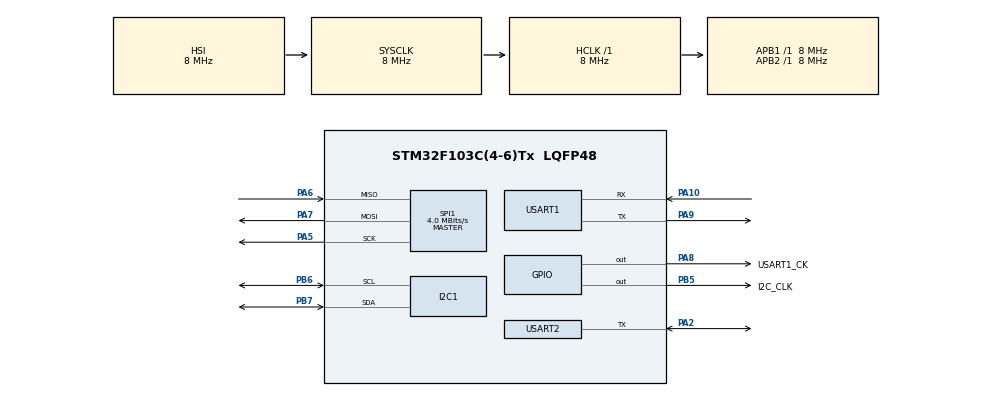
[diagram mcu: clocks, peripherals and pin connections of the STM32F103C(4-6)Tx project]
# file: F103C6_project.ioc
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Mcu.Family=STM32F1
Mcu.Name=STM32F103C(4-6)Tx
Mcu.Package=LQFP48
NVIC.PriorityGroup=NVIC_PRIORITYGROUP_4
PA10.Mode=Asynchronous
PA10.Signal=USART1_RX
PA13.Mode=Serial_Wire
PA13.Signal=SYS_JTMS-SWDIO
PA14.Mode=Serial_Wire
PA14.Signal=SYS_JTCK-SWCLK
PA2.Mode=Half_duplex(single_wire_mode)
PA2.Signal=USART2_TX
PA5.Mode=Full_Duplex_Master
PA5.Signal=SPI1_SCK
PA6.Mode=Full_Duplex_Master
PA6.Signal=SPI1_MISO
PA7.Mode=Full_Duplex_Master
PA7.Signal=SPI1_MOSI
PA8.GPIO_Label=USART1_CK
PA8.Signal=GPIO_Output
PA9.Mode=Asynchronous
PA9.Signal=USART1_TX
PB5.GPIO_Label=I2C_CLK
PB5.Signal=GPIO_Output
PB6.Mode=I2C
PB6.Signal=I2C1_SCL
PB7.Mode=I2C
PB7.Signal=I2C1_SDA
ProjectManager.HeapSize=0x200
ProjectManager.StackSize=0x400
ProjectManager.TargetToolchain=STM32CubeIDE
RCC.AHBFreq_Value=8000000
RCC.APB1Freq_Value=8000000
RCC.APB1TimFreq_Value=8000000
RCC.APB2Freq_Value=8000000
RCC.APB2TimFreq_Value=8000000
RCC.HCLKFreq_Value=8000000
RCC.SYSCLKFreq_VALUE=8000000
RCC.USBFreq_Value=8000000
SPI1.CalculateBaudRate=4.0 MBits/s
SPI1.Direction=SPI_DIRECTION_2LINES
SPI1.Mode=SPI_MODE_MASTER
SPI1.VirtualType=VM_MASTER
USART1.VirtualMode=VM_ASYNC
USART2.VirtualMode=VM_ASYNC
board=custom

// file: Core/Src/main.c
/* USER CODE BEGIN Header */
/**
  ******************************************************************************
  * @file           : main.c
  * @brief          : Main program body
  ******************************************************************************
  * @attention
  *
  * Copyright (c) 2024 STMicroelectronics.
  * All rights reserved.
  *
  * This software is licensed under terms that can be found in the LICENSE file
  * in the root directory of this software component.
  * If no LICENSE file comes with this software, it is provided AS-IS.
  *
  ******************************************************************************
  */
/* USER CODE END Header */
#include "main.h"

/* USER CODE BEGIN Includes */
#include <stdio.h>
#include <string.h>
#include "ds18b20.h"
#include "bmp280.h"
/* USER CODE END Includes */

/* USER CODE BEGIN PTD */
#define MEASURMENTS_NUM 50
#define NUM_OF_FLASH_CELLS 4096
#include <string.h>
#include <stdio.h>
/* USER CODE END PTD */

I2C_HandleTypeDef hi2c1;

SPI_HandleTypeDef hspi1;

UART_HandleTypeDef huart1;
UART_HandleTypeDef huart2;

BMP280_HandleTypedef bmp280;

/* USER CODE BEGIN PV */
DS18B20 temperatureSensor;

float pressure, temperature, humidity;

uint32_t data_to_flash;
uint8_t data_to_uart[128];
uint16_t size_to_uart;
float altitude_0 = 0;
float altitude_above_ground = 0;
float altitude_above_ground_prev = 0;
float altitude_t = 0;
float altitude_current = 0;
float altitude_to_flash = 0;
uint8_t flash_step = 4; // 4 bytes for measurment

char *status = "";
/* USER CODE END PV */

void SystemClock_Config(void);
static void MX_GPIO_Init(void);
static void MX_USART1_UART_Init(void);
static void MX_I2C1_Init(void);
static void MX_SPI1_Init(void);
static void MX_USART2_UART_Init(void);

int main(void)
{

  /* USER CODE BEGIN 1 */
	const uint8_t hello[] = "Comitas Akademya\r\n";
  /* USER CODE END 1 */

  /* MCU Configuration--------------------------------------------------------*/

  /* Reset of all peripherals, Initializes the Flash interface and the Systick. */
  HAL_Init();

  /* Configure the system clock */
  SystemClock_Config();

  /* Initialize all configured peripherals */
  MX_GPIO_Init();
  MX_USART1_UART_Init();
  MX_I2C1_Init();
  MX_SPI1_Init();
  MX_USART2_UART_Init();
  /* USER CODE BEGIN 2 */
  DS18B20_InitializationCommand(&temperatureSensor);
  DS18B20_ReadRom(&temperatureSensor);
  DS18B20_ReadScratchpad(&temperatureSensor);
  char msg[64];
  uint8_t settings[3];
    settings[0] = temperatureSensor.temperatureLimitHigh;
    settings[1] = temperatureSensor.temperatureLimitLow;
    settings[2] = DS18B20_12_BITS_CONFIG;

    DS18B20_InitializationCommand(&temperatureSensor);
    DS18B20_SkipRom(&temperatureSensor);
    DS18B20_WriteScratchpad(&temperatureSensor, settings);
  HAL_UART_Transmit(&huart1, hello, sizeof(hello) - 1, 100);

  /* USER CODE END 2 */

  /* Infinite loop */
  while (1)
  {

    /* USER CODE BEGIN 3 */
	  //HAL_UART_Transmit(&huart1, IE, sizeof(IE) - 1, 100);
	  DS18B20_InitializationCommand(&temperatureSensor);
	  DS18B20_SkipRom(&temperatureSensor);
	  DS18B20_ConvertT(&temperatureSensor, DS18B20_DATA); //ERROR
	  DS18B20_InitializationCommand(&temperatureSensor);
	  DS18B20_SkipRom(&temperatureSensor);
	  DS18B20_ReadScratchpad(&temperatureSensor);

	  snprintf(msg, sizeof(msg), "Temperature: %d\r\n", (int16_t)temperatureSensor.temperature);
	  HAL_UART_Transmit(&huart1, (uint8_t*)msg, strlen(msg), HAL_MAX_DELAY);
  }
  /* USER CODE END 3 */
}

void SystemClock_Config(void)
{
  RCC_OscInitTypeDef RCC_OscInitStruct = {0};
  RCC_ClkInitTypeDef RCC_ClkInitStruct = {0};

  /** Initializes the RCC Oscillators according to the specified parameters
  * in the RCC_OscInitTypeDef structure.
  */
  RCC_OscInitStruct.OscillatorType = RCC_OSCILLATORTYPE_HSI;
  RCC_OscInitStruct.HSIState = RCC_HSI_ON;
  RCC_OscInitStruct.HSICalibrationValue = RCC_HSICALIBRATION_DEFAULT;
  RCC_OscInitStruct.PLL.PLLState = RCC_PLL_NONE;
  if (HAL_RCC_OscConfig(&RCC_OscInitStruct) != HAL_OK)
  {
    Error_Handler();
  }

  /** Initializes the CPU, AHB and APB buses clocks
  */
  RCC_ClkInitStruct.ClockType = RCC_CLOCKTYPE_HCLK|RCC_CLOCKTYPE_SYSCLK
                              |RCC_CLOCKTYPE_PCLK1|RCC_CLOCKTYPE_PCLK2;
  RCC_ClkInitStruct.SYSCLKSource = RCC_SYSCLKSOURCE_HSI;
  RCC_ClkInitStruct.AHBCLKDivider = RCC_SYSCLK_DIV1;
  RCC_ClkInitStruct.APB1CLKDivider = RCC_HCLK_DIV1;
  RCC_ClkInitStruct.APB2CLKDivider = RCC_HCLK_DIV1;

  if (HAL_RCC_ClockConfig(&RCC_ClkInitStruct, FLASH_LATENCY_0) != HAL_OK)
  {
    Error_Handler();
  }
}

static void MX_I2C1_Init(void)
{

  hi2c1.Instance = I2C1;
  hi2c1.Init.ClockSpeed = 100000;
  hi2c1.Init.DutyCycle = I2C_DUTYCYCLE_2;
  hi2c1.Init.OwnAddress1 = 0;
  hi2c1.Init.AddressingMode = I2C_ADDRESSINGMODE_7BIT;
  hi2c1.Init.DualAddressMode = I2C_DUALADDRESS_DISABLE;
  hi2c1.Init.OwnAddress2 = 0;
  hi2c1.Init.GeneralCallMode = I2C_GENERALCALL_DISABLE;
  hi2c1.Init.NoStretchMode = I2C_NOSTRETCH_DISABLE;
  if (HAL_I2C_Init(&hi2c1) != HAL_OK)
  {
    Error_Handler();
  }

}

static void MX_SPI1_Init(void)
{

  /* SPI1 parameter configuration*/
  hspi1.Instance = SPI1;
  hspi1.Init.Mode = SPI_MODE_MASTER;
  hspi1.Init.Direction = SPI_DIRECTION_2LINES;
  hspi1.Init.DataSize = SPI_DATASIZE_8BIT;
  hspi1.Init.CLKPolarity = SPI_POLARITY_LOW;
  hspi1.Init.CLKPhase = SPI_PHASE_1EDGE;
  hspi1.Init.NSS = SPI_NSS_SOFT;
  hspi1.Init.BaudRatePrescaler = SPI_BAUDRATEPRESCALER_2;
  hspi1.Init.FirstBit = SPI_FIRSTBIT_MSB;
  hspi1.Init.TIMode = SPI_TIMODE_DISABLE;
  hspi1.Init.CRCCalculation = SPI_CRCCALCULATION_DISABLE;
  hspi1.Init.CRCPolynomial = 10;
  if (HAL_SPI_Init(&hspi1) != HAL_OK)
  {
    Error_Handler();
  }

}

static void MX_USART1_UART_Init(void)
{

  huart1.Instance = USART1;
  huart1.Init.BaudRate = 115200;
  huart1.Init.WordLength = UART_WORDLENGTH_8B;
  huart1.Init.StopBits = UART_STOPBITS_1;
  huart1.Init.Parity = UART_PARITY_NONE;
  huart1.Init.Mode = UART_MODE_TX_RX;
  huart1.Init.HwFlowCtl = UART_HWCONTROL_NONE;
  huart1.Init.OverSampling = UART_OVERSAMPLING_16;
  if (HAL_UART_Init(&huart1) != HAL_OK)
  {
    Error_Handler();
  }

}

static void MX_USART2_UART_Init(void)
{

  huart2.Instance = USART2;
  huart2.Init.BaudRate = 115200;
  huart2.Init.WordLength = UART_WORDLENGTH_8B;
  huart2.Init.StopBits = UART_STOPBITS_1;
  huart2.Init.Parity = UART_PARITY_NONE;
  huart2.Init.Mode = UART_MODE_TX_RX;
  huart2.Init.HwFlowCtl = UART_HWCONTROL_NONE;
  huart2.Init.OverSampling = UART_OVERSAMPLING_16;
  if (HAL_HalfDuplex_Init(&huart2) != HAL_OK)
  {
    Error_Handler();
  }

}

static void MX_GPIO_Init(void)
{
  GPIO_InitTypeDef GPIO_InitStruct = {0};

  /* GPIO Ports Clock Enable */
  __HAL_RCC_GPIOA_CLK_ENABLE();
  __HAL_RCC_GPIOB_CLK_ENABLE();

  /*Configure GPIO pin Output Level */
  HAL_GPIO_WritePin(USART1_CK_GPIO_Port, USART1_CK_Pin, GPIO_PIN_RESET);

  /*Configure GPIO pin Output Level */
  HAL_GPIO_WritePin(I2C_CLK_GPIO_Port, I2C_CLK_Pin, GPIO_PIN_RESET);

  /*Configure GPIO pin : USART1_CK_Pin */
  GPIO_InitStruct.Pin = USART1_CK_Pin;
  GPIO_InitStruct.Mode = GPIO_MODE_OUTPUT_PP;
  GPIO_InitStruct.Pull = GPIO_NOPULL;
  GPIO_InitStruct.Speed = GPIO_SPEED_FREQ_LOW;
  HAL_GPIO_Init(USART1_CK_GPIO_Port, &GPIO_InitStruct);

  /*Configure GPIO pin : I2C_CLK_Pin */
  GPIO_InitStruct.Pin = I2C_CLK_Pin;
  GPIO_InitStruct.Mode = GPIO_MODE_OUTPUT_PP;
  GPIO_InitStruct.Pull = GPIO_NOPULL;
  GPIO_InitStruct.Speed = GPIO_SPEED_FREQ_LOW;
  HAL_GPIO_Init(I2C_CLK_GPIO_Port, &GPIO_InitStruct);

}

void Error_Handler(void)
{
  __disable_irq();
  while (1)
  {
  }
}
